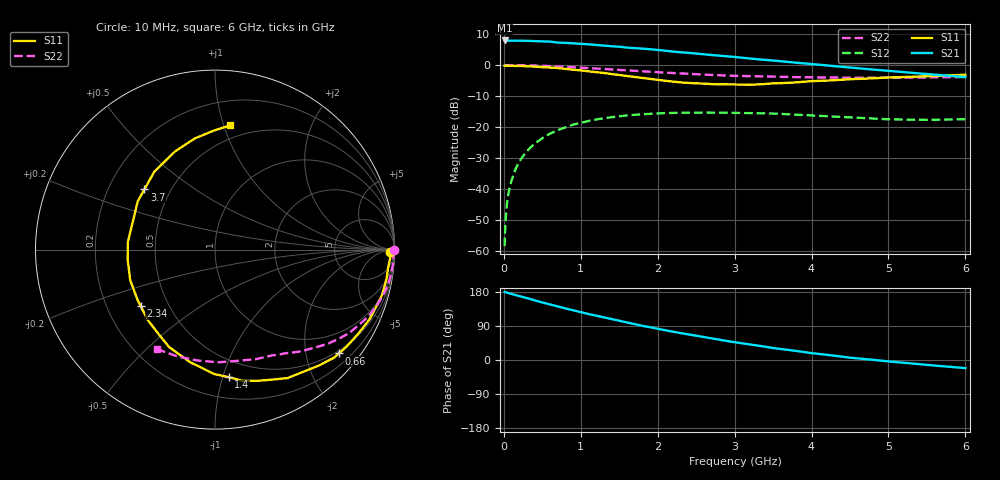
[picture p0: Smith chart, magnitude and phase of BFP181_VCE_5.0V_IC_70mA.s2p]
! Infineon Technologies  Discrete & RF Semiconductors
! BFP181
! VCE = 5.0 V,  IC =  70 mA
! Common Emitter S-Parameters:  Jan 2016
# GHz  S  MA  R  50
!  f  S11  S21  S12  S22
! GHz  MAG  ANG  MAG  ANG  MAG  ANG  MAG  ANG
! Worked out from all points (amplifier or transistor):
!   210 points, 10 MHz to 6 GHz, reference 50 ohm
!   highest |S21| = 7.9 dB at 10 MHz (marker M1)
!   |S21| within 3 dB of that: start of sweep to 1.975 GHz
!   unconditionally stable (mu >= 1): 3.55 GHz to end of sweep
!   at 185 MHz: K = 0.06, MSG = 19.9 dB, |S12| = -31.9 dB
!   at 1.52 GHz: K = 0.47, MSG = 11.2 dB, |S12| = -16.5 dB
!   at 6 GHz: K = 1.37, MAG = 3.2 dB, |S12| = -17.5 dB
!   S11 on the Smith chart (normalised r, x): 10 MHz: 55, -32; 660 MHz: 0.44, -2.68; 1.4 GHz: 0.36, -1.05; 2.34 GHz: 0.35, -0.30; 3.7 GHz: 0.36, +0.33; 6 GHz: 0.39, +1.05
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0.01  0.9734 -0.9  2.491 179.6  0.0012 86.3  0.9978 -0.2
0.015  0.9749 -1.1  2.483 179.6  0.0019 88.8  0.9972 -0.4
0.025  0.9764 -1.5  2.476 179.1  0.0034 90.7  0.9966 -0.8
0.05  0.9769 -2.9  2.479 177.1  0.0073 92.2  0.9963 -1.5
0.095  0.9697 -6.0  2.472 174.8  0.013 86.1  0.9951 -2.8
0.155  0.9694 -9.6  2.46 171.2  0.0213 83.0  0.9945 -4.5
0.36  0.9475 -22.0  2.439 159.9  0.0485 74.6  0.9849 -10.5
0.5  0.9251 -30.7  2.411 151.7  0.0661 68.9  0.9726 -14.4
0.66  0.9003 -40.0  2.334 143.5  0.0847 62.4  0.9543 -18.8
0.8  0.866 -48.4  2.289 136.1  0.0991 57.0  0.9373 -22.4
1.02  0.8153 -61.6  2.189 125.2  0.1185 49.0  0.9053 -27.6
1.1  0.7914 -66.3  2.169 121.2  0.1254 46.2  0.8931 -29.5
1.4  0.715 -83.8  2.009 107.8  0.1442 36.5  0.8488 -36.0
1.8  0.6168 -108.9  1.84 90.2  0.161 26.2  0.7918 -42.9
2.02  0.5711 -122.3  1.74 81.6  0.1666 20.8  0.7636 -46.5
2.34  0.5195 -143.0  1.596 69.6  0.1705 13.8  0.7275 -51.7
2.8  0.4898 -173.0  1.419 53.4  0.1712 5.6  0.6856 -58.6
3.1  0.4824 169.6  1.31 44.1  0.1685 1.0  0.6654 -63.1
3.7  0.5168 139.6  1.119 26.6  0.1606 -5.5  0.6424 -72.8
4.1  0.5549 124.6  1.012 16.0  0.1518 -8.6  0.6303 -80.3
5.1  0.6344 98.4  0.786 -5.5  0.1326 -9.8  0.6249 -100.9
6  0.6969 83.1  0.64 -21.5  0.1337 -4.3  0.642 -120.3
